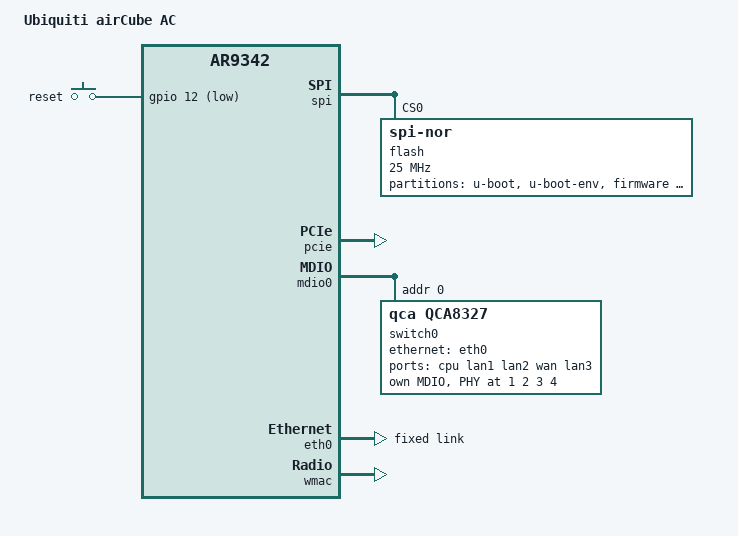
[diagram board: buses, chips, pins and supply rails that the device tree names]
// SPDX-License-Identifier: GPL-2.0-or-later OR MIT

#include "ar9344.dtsi"

#include <dt-bindings/gpio/gpio.h>
#include <dt-bindings/input/input.h>

/ {
	compatible = "ubnt,aircube-ac", "qca,ar9342";
	model = "Ubiquiti airCube AC";

	keys {
		compatible = "gpio-keys";

		reset {
			label = "reset";
			linux,code = <KEY_RESTART>;
			gpios = <&gpio 12 GPIO_ACTIVE_LOW>;
			debounce-interval = <60>;
		};
	};
};

&spi {
	status = "okay";

	flash@0 {
		compatible = "jedec,spi-nor";
		reg = <0>;
		spi-max-frequency = <25000000>;

		partitions {
			compatible = "fixed-partitions";
			#address-cells = <1>;
			#size-cells = <1>;

			partition@0 {
				label = "u-boot";
				reg = <0x000000 0x040000>;
				read-only;
			};

			partition@40000 {
				label = "u-boot-env";
				reg = <0x040000 0x010000>;
				read-only;
			};

			partition@50000 {
				compatible = "denx,uimage";
				label = "firmware";
				reg = <0x050000 0xf60000>;
			};

			partition@fb0000 {
				label = "cfg";
				reg = <0xfb0000 0x040000>;
				read-only;
			};

			art: partition@ff0000 {
				label = "art";
				reg = <0xff0000 0x010000>;
				read-only;
			};
		};
	};
};

&ref {
	clock-frequency = <40000000>;
};

&pcie {
	status = "okay";
};

&mdio0 {
	status = "okay";

	phy-mask = <4>;

	switch0@10 {
		compatible = "qca,qca8327";
		#address-cells = <1>;
		#size-cells = <0>;

		reg = <0>;

		ports {
			#address-cells = <1>;
			#size-cells = <0>;

			port@0 {
				reg = <0>;
				label = "cpu";
				ethernet = <&eth0>;
				phy-mode = "rgmii-id";

				fixed-link {
					speed = <1000>;
					full-duplex;
				};
			};

			port@2 {
				reg = <2>;
				label = "lan1";
				phy-mode = "internal";
				phy-handle = <&phy_port2>;
			};

			port@3 {
				reg = <3>;
				label = "lan2";
				phy-mode = "internal";
				phy-handle = <&phy_port3>;
			};

			port@4 {
				reg = <4>;
				label = "wan";
				phy-mode = "internal";
				phy-handle = <&phy_port4>;
			};

			port@5 {
				reg = <4>;
				label = "lan3";
				phy-mode = "internal";
				phy-handle = <&phy_port5>;
			};
		};

		mdio {
			#address-cells = <1>;
			#size-cells = <0>;

			phy_port2: phy@1 {
				reg = <1>;
			};

			phy_port3: phy@2 {
				reg = <2>;
			};

			phy_port4: phy@3 {
				reg = <3>;
			};

			phy_port5: phy@4 {
				reg = <4>;
			};
		};
	};
};

&eth0 {
	status = "okay";

	/* default for ar934x, except for 1000M and 10M */
	pll-data = <0x06000000 0x00000101 0x00001313>;

	nvmem-cells = <&macaddr_art_0>;
	nvmem-cell-names = "mac-address";

	gmac-config {
		device = <&gmac>;
	};

	fixed-link {
		speed = <1000>;
		full-duplex;
	};
};

&wmac {
	status = "okay";

	mtd-cal-data = <&art 0x1000>;
};

&art {
	compatible = "nvmem-cells";
	#address-cells = <1>;
	#size-cells = <1>;

	macaddr_art_0: macaddr@0 {
		reg = <0x0 0x6>;
	};
};
